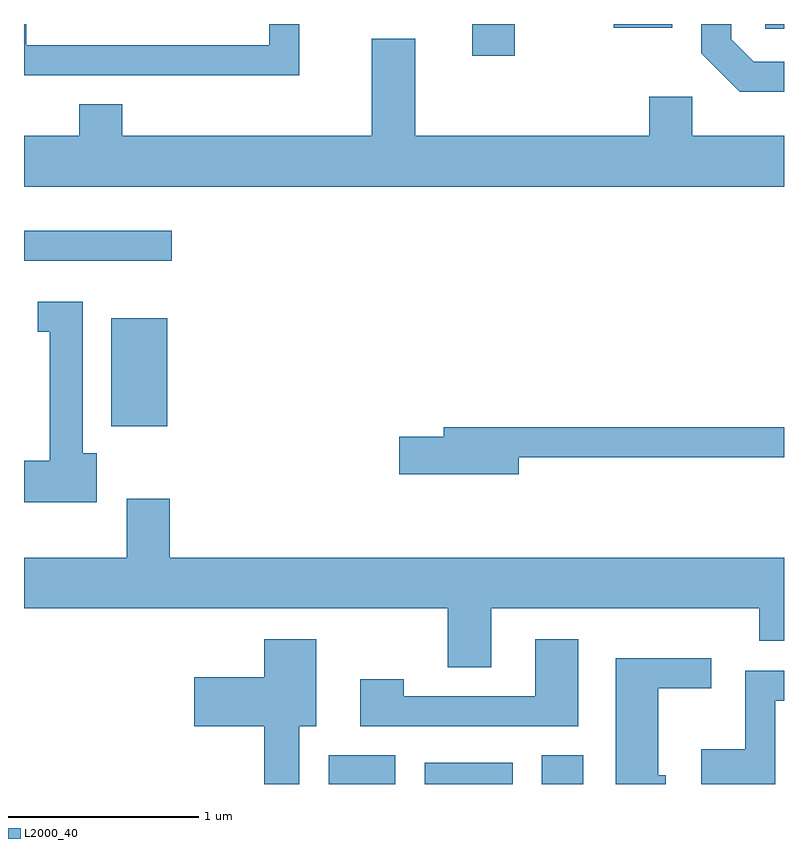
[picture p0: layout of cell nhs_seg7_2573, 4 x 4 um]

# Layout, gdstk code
import gdstk
lib = gdstk.Library(unit=1e-6, precision=1e-09)
def R(c, l, rs):  # rectangles x0, y0, x1, y1
    for r in rs: c.add(gdstk.rectangle(r[:2], r[2:], *l))
def P(c, l, *ps):  # polygons
    for p in ps: c.add(gdstk.Polygon(p, *l))
L2000_40 = (2000, 40)

nhs_seg7_2573 = lib.new_cell('nhs_seg7_2573')
R(nhs_seg7_2573, L2000_40, [(265.216,1742.252,265.564,1742.404), (265.721,1742.252,266.184,1742.364), (266.336,1742.252,266.554,1742.404), (264.071,1744.136,264.364,1744.704), (263.611,1745.006,264.388,1745.164), (265.971,1746.086,266.194,1746.252), (267.511,1746.226,267.611,1746.252), (266.716,1746.231,267.024,1746.252)])
P(nhs_seg7_2573, L2000_40, [(265.059,1746.252),(264.901,1746.252),(264.901,1746.139),(263.624,1746.139),(263.624,1746.252),(263.611,1746.252),(263.611,1745.981),(265.059,1745.981)],
  [(267.611,1746.054),(267.452,1746.054),(267.334,1746.172),(267.334,1746.252),(267.176,1746.252),(267.176,1746.099),(267.379,1745.896),(267.611,1745.896)],
  [(267.611,1745.664),(267.129,1745.664),(267.129,1745.869),(266.901,1745.869),(266.901,1745.664),(265.669,1745.664),(265.669,1746.174),(265.441,1746.174),(265.441,1745.664),(264.129,1745.664),(264.129,1745.829),(263.901,1745.829),(263.901,1745.664),(263.611,1745.664),(263.611,1745.396),(267.611,1745.396)],
  [(263.994,1743.994),(263.919,1743.994),(263.919,1744.789),(263.683,1744.789),(263.683,1744.631),(263.746,1744.631),(263.746,1743.954),(263.611,1743.954),(263.611,1743.736),(263.994,1743.736)],
  [(266.214,1743.971),(267.611,1743.971),(267.611,1744.129),(265.821,1744.129),(265.821,1744.079),(265.586,1744.079),(265.586,1743.881),(266.214,1743.881)],
  [(266.069,1743.176),(267.481,1743.176),(267.481,1743.006),(267.611,1743.006),(267.611,1743.444),(264.379,1743.444),(264.379,1743.754),(264.151,1743.754),(264.151,1743.444),(263.611,1743.444),(263.611,1743.176),(265.841,1743.176),(265.841,1742.866),(266.069,1742.866)],
  [(265.059,1742.556),(265.149,1742.556),(265.149,1743.014),(264.876,1743.014),(264.876,1742.814),(264.506,1742.814),(264.506,1742.556),(264.876,1742.556),(264.876,1742.252),(265.059,1742.252)],
  [(266.529,1743.014),(266.301,1743.014),(266.301,1742.714),(265.609,1742.714),(265.609,1742.804),(265.381,1742.804),(265.381,1742.556),(266.529,1742.556)],
  [(266.989,1742.299),(266.949,1742.299),(266.949,1742.756),(267.228,1742.756),(267.228,1742.914),(266.726,1742.914),(266.726,1742.252),(266.989,1742.252)],
  [(267.564,1742.691),(267.611,1742.691),(267.611,1742.849),(267.406,1742.849),(267.406,1742.434),(267.176,1742.434),(267.176,1742.252),(267.564,1742.252)])

lib.write_gds('nhs_seg7_2573.gds')
